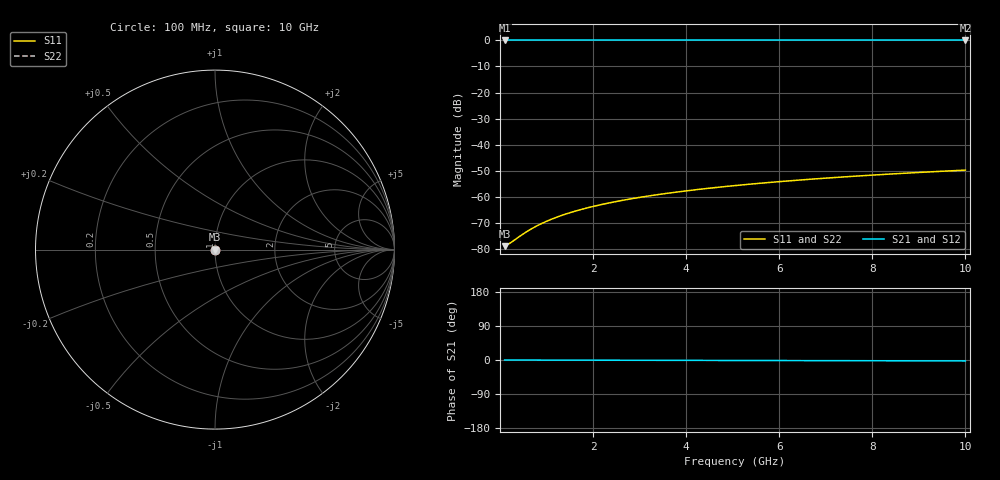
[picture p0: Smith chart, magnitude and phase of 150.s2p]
# Hz S RI R 50.00
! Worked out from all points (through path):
!   100 points, 100 MHz to 10 GHz, reference 50 ohm
!   highest |S21| = 0.00 dB at 100 MHz (marker M1); lowest = 0.0 dB at 10 GHz (marker M2)
!   lowest |S11| = -79.0 dB at 100 MHz (marker M3), VSWR 1.00, Z = 50 - j0.00319 ohm
!   |S11| at or under -10 dB: start of sweep to end of sweep
!   |S22| runs from -79.0 to -49.8 dB; largest |S21 - S12| = 0
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1e8  0.000108 -3.19e-05  0.9999 -0.000423  0.9999 -0.000423  0.000108 -3.19e-05
2e8  0.000108 -6.37e-05  0.9999 -0.000846  0.9999 -0.000846  0.000108 -6.37e-05
5e8  0.000108 -0.000159  0.9999 -0.00212  0.9999 -0.00212  0.000108 -0.000159
6e8  0.000108 -0.000191  0.9999 -0.00254  0.9999 -0.00254  0.000108 -0.000191
7e8  0.000108 -0.000223  0.9999 -0.00296  0.9999 -0.00296  0.000108 -0.000223
9e8  0.000108 -0.000287  0.9999 -0.00381  0.9999 -0.00381  0.000108 -0.000287
1.1e9  0.000107 -0.000351  0.9999 -0.00466  0.9999 -0.00466  0.000107 -0.000351
1.3e9  0.000107 -0.000415  0.9999 -0.0055  0.9999 -0.0055  0.000107 -0.000415
1.5e9  0.000106 -0.00048  0.9999 -0.00635  0.9999 -0.00635  0.000106 -0.00048
1.8e9  0.000105 -0.000576  0.9999 -0.00762  0.9999 -0.00762  0.000105 -0.000576
2.1e9  0.000103 -0.000673  0.9998 -0.0089  0.9998 -0.0089  0.000103 -0.000673
2.5e9  0.0001 -0.000802  0.9998 -0.0106  0.9998 -0.0106  0.0001 -0.000802
2.9e9  9.69e-05 -0.000931  0.9998 -0.0123  0.9998 -0.0123  9.69e-05 -0.000931
3.4e9  9.23e-05 -0.00109  0.9998 -0.0144  0.9998 -0.0144  9.23e-05 -0.00109
3.8e9  8.8e-05 -0.00122  0.9997 -0.0161  0.9997 -0.0161  8.8e-05 -0.00122
4.2e9  8.33e-05 -0.00135  0.9997 -0.0178  0.9997 -0.0178  8.33e-05 -0.00135
5.1e9  7.1e-05 -0.00165  0.9996 -0.0217  0.9996 -0.0217  7.1e-05 -0.00165
5.9e9  5.81e-05 -0.00191  0.9996 -0.0251  0.9996 -0.0251  5.81e-05 -0.00191
6.7e9  4.34e-05 -0.00217  0.9995 -0.0285  0.9995 -0.0285  4.34e-05 -0.00217
7.5e9  2.69e-05 -0.00243  0.9993 -0.032  0.9993 -0.032  2.69e-05 -0.00243
8.4e9  6.23e-06 -0.00272  0.9992 -0.0358  0.9992 -0.0358  6.23e-06 -0.00272
1e10  -3.59e-05 -0.00324  0.9989 -0.0428  0.9989 -0.0428  -3.59e-05 -0.00324
